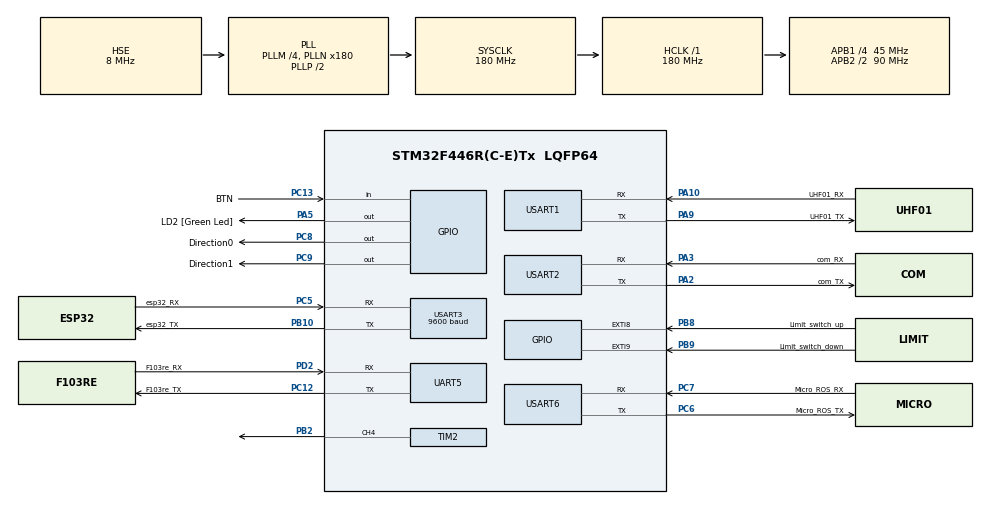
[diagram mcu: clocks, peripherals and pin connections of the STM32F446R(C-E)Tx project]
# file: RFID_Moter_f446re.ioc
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Dma.Request0=USART1_RX
Dma.Request1=USART2_RX
Dma.Request2=USART6_RX
Dma.Request3=USART6_TX
Dma.Request4=UART5_RX
Dma.UART5_RX.4.Direction=DMA_PERIPH_TO_MEMORY
Dma.UART5_RX.4.FIFOMode=DMA_FIFOMODE_DISABLE
Dma.UART5_RX.4.Instance=DMA1_Stream0
Dma.UART5_RX.4.MemDataAlignment=DMA_MDATAALIGN_BYTE
Dma.UART5_RX.4.MemInc=DMA_MINC_ENABLE
Dma.UART5_RX.4.Mode=DMA_CIRCULAR
Dma.UART5_RX.4.PeriphDataAlignment=DMA_PDATAALIGN_BYTE
Dma.UART5_RX.4.PeriphInc=DMA_PINC_DISABLE
Dma.UART5_RX.4.Priority=DMA_PRIORITY_LOW
Dma.USART1_RX.0.Direction=DMA_PERIPH_TO_MEMORY
Dma.USART1_RX.0.FIFOMode=DMA_FIFOMODE_DISABLE
Dma.USART1_RX.0.Instance=DMA2_Stream5
Dma.USART1_RX.0.MemDataAlignment=DMA_MDATAALIGN_BYTE
Dma.USART1_RX.0.MemInc=DMA_MINC_ENABLE
Dma.USART1_RX.0.Mode=DMA_CIRCULAR
Dma.USART1_RX.0.PeriphDataAlignment=DMA_PDATAALIGN_BYTE
Dma.USART1_RX.0.PeriphInc=DMA_PINC_DISABLE
Dma.USART1_RX.0.Priority=DMA_PRIORITY_LOW
Dma.USART2_RX.1.Direction=DMA_PERIPH_TO_MEMORY
Dma.USART2_RX.1.FIFOMode=DMA_FIFOMODE_DISABLE
Dma.USART2_RX.1.Instance=DMA1_Stream5
Dma.USART2_RX.1.MemDataAlignment=DMA_MDATAALIGN_BYTE
Dma.USART2_RX.1.MemInc=DMA_MINC_ENABLE
Dma.USART2_RX.1.Mode=DMA_NORMAL
Dma.USART2_RX.1.PeriphDataAlignment=DMA_PDATAALIGN_BYTE
Dma.USART2_RX.1.PeriphInc=DMA_PINC_DISABLE
Dma.USART2_RX.1.Priority=DMA_PRIORITY_LOW
Dma.USART6_RX.2.Direction=DMA_PERIPH_TO_MEMORY
Dma.USART6_RX.2.FIFOMode=DMA_FIFOMODE_DISABLE
Dma.USART6_RX.2.Instance=DMA2_Stream1
Dma.USART6_RX.2.MemDataAlignment=DMA_MDATAALIGN_BYTE
Dma.USART6_RX.2.MemInc=DMA_MINC_ENABLE
Dma.USART6_RX.2.Mode=DMA_CIRCULAR
Dma.USART6_RX.2.PeriphDataAlignment=DMA_PDATAALIGN_BYTE
Dma.USART6_RX.2.PeriphInc=DMA_PINC_DISABLE
Dma.USART6_RX.2.Priority=DMA_PRIORITY_VERY_HIGH
Dma.USART6_TX.3.Direction=DMA_MEMORY_TO_PERIPH
Dma.USART6_TX.3.FIFOMode=DMA_FIFOMODE_DISABLE
Dma.USART6_TX.3.Instance=DMA2_Stream6
Dma.USART6_TX.3.MemDataAlignment=DMA_MDATAALIGN_BYTE
Dma.USART6_TX.3.MemInc=DMA_MINC_ENABLE
Dma.USART6_TX.3.Mode=DMA_NORMAL
Dma.USART6_TX.3.PeriphDataAlignment=DMA_PDATAALIGN_BYTE
Dma.USART6_TX.3.PeriphInc=DMA_PINC_DISABLE
Dma.USART6_TX.3.Priority=DMA_PRIORITY_LOW
FREERTOS.Tasks01=defaultTask,2,400,StartDefaultTask,Default,NULL,Dynamic,NULL,NULL;rfidExecuteTask,0,128,StartRfidExecuteTask,Default,NULL,Dynamic,NULL,NULL;tagNumTransmitT,0,128,StartTagNumTransmitTask,Default,NULL,Dynamic,NULL,NULL;motorTask,-2,128,controlmotor,Default,NULL,Dynamic,NULL,NULL;transmitTask2,0,128,StarttransmitTask2,Default,NULL,Dynamic,NULL,NULL;RosTask,1,3000,StartRosTask,Default,NULL,Static,RosTaskBuffer,RosTaskControlBlock;transePosition,-3,128,StartTransePosition,Default,NULL,Dynamic,NULL,NULL
FREERTOS.configUSE_NEWLIB_REENTRANT=1
Mcu.Family=STM32F4
Mcu.Name=STM32F446R(C-E)Tx
Mcu.Package=LQFP64
NVIC.DMA1_Stream0_IRQn=true\:5\:0\:false\:false\:true\:true\:false\:true\:true
NVIC.DMA1_Stream5_IRQn=true\:5\:0\:false\:false\:true\:true\:false\:true\:true
NVIC.DMA2_Stream1_IRQn=true\:5\:0\:false\:false\:true\:true\:false\:true\:true
NVIC.DMA2_Stream5_IRQn=true\:5\:0\:false\:false\:true\:false\:false\:true\:true
NVIC.DMA2_Stream6_IRQn=true\:5\:0\:false\:false\:true\:true\:false\:true\:true
NVIC.EXTI9_5_IRQn=true\:5\:0\:false\:false\:true\:true\:true\:true\:true
NVIC.PriorityGroup=NVIC_PRIORITYGROUP_4
NVIC.TIM4_IRQn=true\:15\:0\:false\:false\:true\:false\:false\:true\:true
NVIC.TimeBase=TIM4_IRQn
NVIC.TimeBaseIP=TIM4
NVIC.UART5_IRQn=true\:5\:0\:false\:false\:true\:true\:true\:true\:true
NVIC.USART1_IRQn=true\:5\:0\:false\:false\:true\:true\:true\:true\:true
NVIC.USART3_IRQn=true\:5\:0\:false\:false\:true\:true\:true\:true\:true
NVIC.USART6_IRQn=true\:5\:0\:false\:false\:true\:true\:true\:true\:true
PA10.GPIO_Label=UHF01_RX
PA10.Mode=Asynchronous
PA10.Signal=USART1_RX
PA13.Mode=Trace_Asynchronous_SW
PA13.Signal=SYS_JTMS-SWDIO
PA14.Mode=Trace_Asynchronous_SW
PA14.Signal=SYS_JTCK-SWCLK
PA2.GPIO_Label=com_TX
PA2.Mode=Asynchronous
PA2.Signal=USART2_TX
PA3.GPIO_Label=com_RX
PA3.Mode=Asynchronous
PA3.Signal=USART2_RX
PA5.GPIO_Label=LD2 [Green Led]
PA5.Signal=GPIO_Output
PA9.GPIO_Label=UHF01_TX
PA9.Mode=Asynchronous
PA9.Signal=USART1_TX
PB10.GPIO_Label=esp32_TX
PB10.Mode=Asynchronous
PB10.Signal=USART3_TX
PB2.Signal=S_TIM2_CH4
PB3.Mode=Trace_Asynchronous_SW
PB3.Signal=SYS_JTDO-SWO
PB8.GPIO_Label=Limit_switch_up
PB8.GPIO_ModeDefaultEXTI=GPIO_MODE_IT_FALLING
PB8.GPIO_PuPd=GPIO_PULLDOWN
PB8.Signal=GPXTI8
PB9.GPIO_Label=Limit_switch_down
PB9.GPIO_ModeDefaultEXTI=GPIO_MODE_IT_FALLING
PB9.GPIO_PuPd=GPIO_PULLDOWN
PB9.Signal=GPXTI9
PC12.GPIO_Label=F103re_TX
PC12.Mode=Asynchronous
PC12.Signal=UART5_TX
PC13.GPIO_Label=BTN
PC13.Signal=GPIO_Input
PC14-OSC32_IN.Mode=LSE-External-Oscillator
PC14-OSC32_IN.Signal=RCC_OSC32_IN
PC15-OSC32_OUT.Mode=LSE-External-Oscillator
PC15-OSC32_OUT.Signal=RCC_OSC32_OUT
PC5.GPIO_Label=esp32_RX
PC5.Mode=Asynchronous
PC5.Signal=USART3_RX
PC6.GPIO_Label=Micro_ROS_TX
PC6.Mode=Asynchronous
PC6.Signal=USART6_TX
PC7.GPIO_Label=Micro_ROS_RX
PC7.Mode=Asynchronous
PC7.Signal=USART6_RX
PC8.GPIO_Label=Direction0
PC8.GPIO_PuPd=GPIO_PULLUP
PC8.Signal=GPIO_Output
PC9.GPIO_Label=Direction1
PC9.GPIO_PuPd=GPIO_PULLUP
PC9.Signal=GPIO_Output
PD2.GPIO_Label=F103re_RX
PD2.Mode=Asynchronous
PD2.Signal=UART5_RX
PH0-OSC_IN.Mode=HSE-External-Oscillator
PH0-OSC_IN.Signal=RCC_OSC_IN
PH1-OSC_OUT.Mode=HSE-External-Oscillator
PH1-OSC_OUT.Signal=RCC_OSC_OUT
ProjectManager.HeapSize=0x200
ProjectManager.StackSize=0x400
ProjectManager.TargetToolchain=STM32CubeIDE
RCC.48MHZClocksFreq_Value=84000000
RCC.AHBFreq_Value=180000000
RCC.APB1CLKDivider=RCC_HCLK_DIV4
RCC.APB1Freq_Value=45000000
RCC.APB1TimFreq_Value=90000000
RCC.APB2CLKDivider=RCC_HCLK_DIV2
RCC.APB2Freq_Value=90000000
RCC.APB2TimFreq_Value=180000000
RCC.CortexFreq_Value=180000000
RCC.FLatency-AdvancedSettings=FLASH_LATENCY_5
RCC.HCLKFreq_Value=180000000
RCC.HSE_VALUE=8000000
RCC.HSI_VALUE=16000000
RCC.PLLM=4
RCC.PLLN=180
RCC.PLLSourceVirtual=RCC_PLLSOURCE_HSE
RCC.SYSCLKFreq_VALUE=180000000
RCC.SYSCLKSource=RCC_SYSCLKSOURCE_PLLCLK
RCC.USBFreq_Value=180000000
RCC.VCOOutputFreq_Value=360000000
SH.S_TIM2_CH4.0=TIM2_CH4,PWM Generation4 CH4
TIM2.Channel-PWM\ Generation4\ CH4=TIM_CHANNEL_4
TIM2.Period=1000-1
TIM2.Prescaler=90-1
UART5.VirtualMode=Asynchronous
USART1.VirtualMode=VM_ASYNC
USART2.VirtualMode=VM_ASYNC
USART3.BaudRate=9600
USART3.VirtualMode=VM_ASYNC
USART6.VirtualMode=VM_ASYNC
VP_FREERTOS_VS_CMSIS_V1.Mode=CMSIS_V1
VP_SYS_VS_tim4.Mode=TIM4
board=NUCLEO-F446RE

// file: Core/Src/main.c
/* USER CODE BEGIN Header */
/**
  ******************************************************************************
  * @file           : main.c
  * @brief          : Main program body
  ******************************************************************************
  * @attention
  *
  * Copyright (c) 2024 STMicroelectronics.
  * All rights reserved.
  *
  * This software is licensed under terms that can be found in the LICENSE file
  * in the root directory of this software component.
  * If no LICENSE file comes with this software, it is provided AS-IS.
  *
  ******************************************************************************
  */
/* USER CODE END Header */
#include "main.h"
#include "cmsis_os.h"
#include "dma.h"
#include "tim.h"
#include "usart.h"
#include "gpio.h"

/* USER CODE BEGIN Includes */

#include "uart_receive_dma.h"
#include "scan_motor.h"

/* USER CODE END Includes */

/* USER CODE BEGIN PV */
extern uint8_t BLE_RX_BUF[100];
extern int limit_switch_up;
extern int limit_switch_down;

extern osThreadId motorTaskHandle;
extern osThreadId rfidExecuteTaskHandle;
/* USER CODE END PV */

void SystemClock_Config(void);
void MX_FREERTOS_Init(void);

/* USER CODE BEGIN 0 */

void HAL_GPIO_EXTI_Callback(uint16_t GPIO_Pin){
	static uint32_t before_tick1 = 0;
	static uint32_t before_tick2 = 0;

	if(GPIO_Pin == Limit_switch_up_Pin){
		if(HAL_GetTick() - before_tick1 >= 300){
			HAL_GPIO_WritePin(GPIOA, GPIO_PIN_5, GPIO_PIN_SET); //LED turned on
			before_tick1 = HAL_GetTick();
			TIM2->CCR4 = 0;
			change_motor_direction(2);
			limit_switch_up = 1;
			limit_switch_down = 0;
		}
	}else if(GPIO_Pin == Limit_switch_down_Pin){
		if(HAL_GetTick() - before_tick2 >= 300){
			before_tick2 = HAL_GetTick();
			TIM2->CCR4 = 0;
			change_motor_direction(2);
			limit_switch_down = 1;
			limit_switch_up = 0;
		}
	}
}

/* USER CODE END 0 */

int main(void)
{

  /* MCU Configuration--------------------------------------------------------*/

  /* Reset of all peripherals, Initializes the Flash interface and the Systick. */
  HAL_Init();

  /* Configure the system clock */
  SystemClock_Config();

  /* Initialize all configured peripherals */
  MX_GPIO_Init();
  MX_DMA_Init();
  MX_USART2_UART_Init();
  MX_USART1_UART_Init();
  MX_USART3_UART_Init();
  MX_USART6_UART_Init();
  MX_TIM2_Init();
  MX_UART5_Init();
  /* USER CODE BEGIN 2 */
  uart_init();
//  uart2_init();
  HAL_UART_Receive_IT(&huart5, BLE_RX_BUF, 12);

  HAL_TIM_PWM_Start(&htim2, TIM_CHANNEL_4);
  HAL_GPIO_WritePin(Direction0_GPIO_Port, Direction0_Pin, GPIO_PIN_RESET);
  HAL_GPIO_WritePin(Direction1_GPIO_Port, Direction1_Pin, GPIO_PIN_RESET);
  TIM2->CCR4 = 0;

  /* USER CODE END 2 */

  /* Call init function for freertos objects (in cmsis_os2.c) */
  MX_FREERTOS_Init();

  /* Start scheduler */
  osKernelStart();

  /* We should never get here as control is now taken by the scheduler */

  /* Infinite loop */
  while (1)
  {

  }
}

void SystemClock_Config(void)
{
  RCC_OscInitTypeDef RCC_OscInitStruct = {0};
  RCC_ClkInitTypeDef RCC_ClkInitStruct = {0};

  /** Configure the main internal regulator output voltage
  */
  __HAL_RCC_PWR_CLK_ENABLE();
  __HAL_PWR_VOLTAGESCALING_CONFIG(PWR_REGULATOR_VOLTAGE_SCALE1);

  /** Initializes the RCC Oscillators according to the specified parameters
  * in the RCC_OscInitTypeDef structure.
  */
  RCC_OscInitStruct.OscillatorType = RCC_OSCILLATORTYPE_HSE;
  RCC_OscInitStruct.HSEState = RCC_HSE_ON;
  RCC_OscInitStruct.PLL.PLLState = RCC_PLL_ON;
  RCC_OscInitStruct.PLL.PLLSource = RCC_PLLSOURCE_HSE;
  RCC_OscInitStruct.PLL.PLLM = 4;
  RCC_OscInitStruct.PLL.PLLN = 180;
  RCC_OscInitStruct.PLL.PLLP = RCC_PLLP_DIV2;
  RCC_OscInitStruct.PLL.PLLQ = 2;
  RCC_OscInitStruct.PLL.PLLR = 2;
  if (HAL_RCC_OscConfig(&RCC_OscInitStruct) != HAL_OK)
  {
    Error_Handler();
  }

  /** Activate the Over-Drive mode
  */
  if (HAL_PWREx_EnableOverDrive() != HAL_OK)
  {
    Error_Handler();
  }

  /** Initializes the CPU, AHB and APB buses clocks
  */
  RCC_ClkInitStruct.ClockType = RCC_CLOCKTYPE_HCLK|RCC_CLOCKTYPE_SYSCLK
                              |RCC_CLOCKTYPE_PCLK1|RCC_CLOCKTYPE_PCLK2;
  RCC_ClkInitStruct.SYSCLKSource = RCC_SYSCLKSOURCE_PLLCLK;
  RCC_ClkInitStruct.AHBCLKDivider = RCC_SYSCLK_DIV1;
  RCC_ClkInitStruct.APB1CLKDivider = RCC_HCLK_DIV4;
  RCC_ClkInitStruct.APB2CLKDivider = RCC_HCLK_DIV2;

  if (HAL_RCC_ClockConfig(&RCC_ClkInitStruct, FLASH_LATENCY_5) != HAL_OK)
  {
    Error_Handler();
  }
}

/* USER CODE BEGIN 4 */
//HAL_SPI_RxCpltCallback(SPI_HandleTypeDef *hspi){
//	HAL_UART_Transmit(&huart2, rc522_rx_buf,sizeof(rc522_rx_buf) , 500);
//}

/* USER CODE END 4 */

void HAL_TIM_PeriodElapsedCallback(TIM_HandleTypeDef *htim)
{
  if (htim->Instance == TIM4) {
    HAL_IncTick();
  }
}

void Error_Handler(void)
{
  __disable_irq();
  while (1)
  {
  }
}

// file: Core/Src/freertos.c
/* USER CODE BEGIN Header */
/**
  ******************************************************************************
  * File Name          : freertos.c
  * Description        : Code for freertos applications
  ******************************************************************************
  * @attention
  *
  * Copyright (c) 2024 STMicroelectronics.
  * All rights reserved.
  *
  * This software is licensed under terms that can be found in the LICENSE file
  * in the root directory of this software component.
  * If no LICENSE file comes with this software, it is provided AS-IS.
  *
  ******************************************************************************
  */
/* USER CODE END Header */

#include "FreeRTOS.h"
#include "task.h"
#include "main.h"
#include "cmsis_os.h"

/* USER CODE BEGIN Includes */
#include "uart_receive_dma.h"
#include "usart.h"

#include "scan_motor.h"

#include <rcl/rcl.h>
#include <rcl/error_handling.h>
#include <rclc/rclc.h>
#include <rclc/executor.h>
#include <uxr/client/transport.h>
#include <rmw_microxrcedds_c/config.h>
#include <rmw_microros/rmw_microros.h>

#include <std_msgs/msg/string.h>
#include <sensor_msgs/msg/imu.h>

#include <stdio.h>
#include <string.h>
/* USER CODE END Includes */

/* USER CODE BEGIN PM */
rcl_publisher_t publisher_string_scan;
rcl_publisher_t publisher_string_pos;
std_msgs__msg__String pub_str_msg;
std_msgs__msg__String pub_str_pos;
/* USER CODE END PM */

/* USER CODE BEGIN Variables */
extern UART_HandleTypeDef huart1;
extern UART_HandleTypeDef huart2;
extern UART_HandleTypeDef huart5;
extern UART_HandleTypeDef huart6;
extern queue8_t uart_queue;

extern uint8_t BLE_RX_BUF[100];
extern TIM_HandleTypeDef htim1;
#define transmitSignal 0x0001
#define transmitSignal2 0x0002
#define positionSignal 0x0003

int motor_status = 0;
int pub_status = 0;
int pub_nav = 0;
char xChar[6],yChar[6];
/* USER CODE END Variables */
osThreadId defaultTaskHandle;
osThreadId rfidExecuteTaskHandle;
osThreadId tagNumTransmitTHandle;
osThreadId motorTaskHandle;
osThreadId transmitTask2Handle;
osThreadId RosTaskHandle;
uint32_t RosTaskBuffer[ 3000 ];
osStaticThreadDef_t RosTaskControlBlock;
osThreadId transePositionHandle;

void StartDefaultTask(void const * argument);
void StartRfidExecuteTask(void const * argument);
void StartTagNumTransmitTask(void const * argument);
void controlmotor(void const * argument);
void StarttransmitTask2(void const * argument);
void StartRosTask(void const * argument);
void StartTransePosition(void const * argument);

void MX_FREERTOS_Init(void); /* (MISRA C 2004 rule 8.1) */

/* GetIdleTaskMemory prototype (linked to static allocation support) */
void vApplicationGetIdleTaskMemory( StaticTask_t **ppxIdleTaskTCBBuffer, StackType_t **ppxIdleTaskStackBuffer, uint32_t *pulIdleTaskStackSize );

/* USER CODE BEGIN GET_IDLE_TASK_MEMORY */
static StaticTask_t xIdleTaskTCBBuffer;
static StackType_t xIdleStack[configMINIMAL_STACK_SIZE];

void vApplicationGetIdleTaskMemory( StaticTask_t **ppxIdleTaskTCBBuffer, StackType_t **ppxIdleTaskStackBuffer, uint32_t *pulIdleTaskStackSize )
{
  *ppxIdleTaskTCBBuffer = &xIdleTaskTCBBuffer;
  *ppxIdleTaskStackBuffer = &xIdleStack[0];
  *pulIdleTaskStackSize = configMINIMAL_STACK_SIZE;
  /* place for user code */
}
/* USER CODE END GET_IDLE_TASK_MEMORY */

void MX_FREERTOS_Init(void) {

  /* Create the thread(s) */
  /* definition and creation of defaultTask */
  osThreadDef(defaultTask, StartDefaultTask, osPriorityHigh, 0, 400);
  defaultTaskHandle = osThreadCreate(osThread(defaultTask), NULL);

  /* definition and creation of rfidExecuteTask */
  osThreadDef(rfidExecuteTask, StartRfidExecuteTask, osPriorityNormal, 0, 128);
  rfidExecuteTaskHandle = osThreadCreate(osThread(rfidExecuteTask), NULL);

  /* definition and creation of tagNumTransmitT */
  osThreadDef(tagNumTransmitT, StartTagNumTransmitTask, osPriorityNormal, 0, 128);
  tagNumTransmitTHandle = osThreadCreate(osThread(tagNumTransmitT), NULL);

  /* definition and creation of motorTask */
  osThreadDef(motorTask, controlmotor, osPriorityLow, 0, 128);
  motorTaskHandle = osThreadCreate(osThread(motorTask), NULL);

  /* definition and creation of transmitTask2 */
  osThreadDef(transmitTask2, StarttransmitTask2, osPriorityNormal, 0, 128);
  transmitTask2Handle = osThreadCreate(osThread(transmitTask2), NULL);

  /* definition and creation of RosTask */
  osThreadStaticDef(RosTask, StartRosTask, osPriorityAboveNormal, 0, 3000, RosTaskBuffer, &RosTaskControlBlock);
  RosTaskHandle = osThreadCreate(osThread(RosTask), NULL);

  /* definition and creation of transePosition */
  osThreadDef(transePosition, StartTransePosition, osPriorityIdle, 0, 128);
  transePositionHandle = osThreadCreate(osThread(transePosition), NULL);

}

void StartDefaultTask(void const * argument)
{
  /* USER CODE BEGIN StartDefaultTask */
  /* Infinite loop */
  for(;;)
  {
	read_rfid_number();
	read_location();
	HAL_GPIO_WritePin(GPIOA, GPIO_PIN_5, GPIO_PIN_RESET); //LED turned off
//	read_command();
	if(HAL_GPIO_ReadPin(BTN_GPIO_Port, BTN_Pin) == GPIO_PIN_RESET){
		pub_status = 1;
	}
    osDelay(50);
  }
  /* USER CODE END StartDefaultTask */
}

void StartRfidExecuteTask(void const * argument)
{
  /* USER CODE BEGIN StartRfidExecuteTask */
	  uint8_t read_tag_single_time[] = {0xBB, 0x00, 0x22, 0x00, 0x00, 0x22, 0x7E};
	  vTaskSuspend(rfidExecuteTaskHandle);
	  /* Infinite loop */
	  for(;;)
	  {
		HAL_UART_Transmit(&huart1, read_tag_single_time, sizeof(read_tag_single_time), HAL_MAX_DELAY);

		//vTaskResume(defaultTaskHandle);
	    osDelay(300);
	  }
  /* USER CODE END StartRfidExecuteTask */
}

void StartTagNumTransmitTask(void const * argument)
{
  /* USER CODE BEGIN StartTagNumTransmitTask */
  /* Infinite loop */
  osEvent event;

  for(;;)
  {
//	  HAL_UART_Receive_IT(&huart5, BLE_RX_BUF,12);
	event = osSignalWait(transmitSignal, 100);
	if(event.value.signals == transmitSignal){
		transmitData();
		}
	osDelay(10);
  }

  /* USER CODE END StartTagNumTransmitTask */
}

void controlmotor(void const * argument)
{
  /* USER CODE BEGIN controlmotor */
  /* Infinite loop */
	vTaskSuspend(motorTaskHandle);
  /* Infinite loop */
  for(;;)
  {
	  if(motor_status == 0){
		  scan_motor_up();
	  }else if(motor_status == 1){
		  scan_motor_down();
	  }
	  osDelay(100);
  }
  /* USER CODE END controlmotor */
}

void StarttransmitTask2(void const * argument)
{
  /* USER CODE BEGIN StarttransmitTask2 */
	osEvent event;
  /* Infinite loop */
	  for(;;)
	  {
		  HAL_UART_Receive_IT(&huart5, BLE_RX_BUF,12);
		  event = osSignalWait(transmitSignal2, 100);
		  if(event.value.signals == transmitSignal2){
			  transmitCommand();
		  }
		  osDelay(1);
	  }
  /* USER CODE END StarttransmitTask2 */
}

/* USER CODE BEGIN Header_StartRosTask */
void * microros_allocate(size_t size, void * state);
void microros_deallocate(void * pointer, void * state);
void * microros_reallocate(void * pointer, size_t size, void * state);
void * microros_zero_allocate(size_t number_of_elements, size_t size_of_element, void * state);
bool cubemx_transport_open(struct uxrCustomTransport * transport);
bool cubemx_transport_close(struct uxrCustomTransport * transport);
size_t cubemx_transport_write(struct uxrCustomTransport* transport, const uint8_t * buf, size_t len, uint8_t * err);
size_t cubemx_transport_read(struct uxrCustomTransport* transport, uint8_t* buf, size_t len, int timeout, uint8_t* err);
#define ARRAY_LEN 200
#define RCCHECK(fn) { rcl_ret_t temp_rc = fn; if((temp_rc != RCL_RET_OK)){printf("Failed status on line %d: %d. Aborting.\n",__LINE__,(int)temp_rc); return 1;}}
#define RCSOFTCHECK(fn) { rcl_ret_t temp_rc = fn; if((temp_rc != RCL_RET_OK)){printf("Failed status on line %d: %d. Continuing.\n",__LINE__,(int)temp_rc);}}

void subscription_str_callback(const void * msgin)
{
  std_msgs__msg__String * msg = (std_msgs__msg__String *)msgin;
  pub_str_msg = *msg;
  char str[100];
  strcpy(str, msg->data.data);
  if(!strcmp(str,"motor_scan")){
	  vTaskResume(motorTaskHandle);
	  vTaskResume(rfidExecuteTaskHandle);
  }

}

void debug_led()
{
  HAL_GPIO_WritePin(GPIOA, GPIO_PIN_5, GPIO_PIN_SET); //LED turned on
  HAL_Delay(200); //Wait for 200[ms]
  HAL_GPIO_WritePin(GPIOA, GPIO_PIN_5, GPIO_PIN_RESET); //LED turned off
  HAL_Delay(200);
}

/**
* @brief Function implementing the RosTask thread.
* @param argument: Not used
* @retval None
*/
/* USER CODE END Header_StartRosTask */
void StartRosTask(void const * argument)
{
  /* USER CODE BEGIN StartRosTask */
	  // micro-ROS configuration

	  char test_array[ARRAY_LEN];
	  memset(test_array,'z',ARRAY_LEN);

	  rmw_uros_set_custom_transport(
	    true,
	    (void *) &huart6,
	    cubemx_transport_open,
	    cubemx_transport_close,
	    cubemx_transport_write,
	    cubemx_transport_read);

	  rcl_allocator_t freeRTOS_allocator = rcutils_get_zero_initialized_allocator();
	  freeRTOS_allocator.allocate = microros_allocate;
	  freeRTOS_allocator.deallocate = microros_deallocate;
	  freeRTOS_allocator.reallocate = microros_reallocate;
	  freeRTOS_allocator.zero_allocate =  microros_zero_allocate;

	  if (!rcutils_set_default_allocator(&freeRTOS_allocator)) {
	    printf("Error on default allocators (line %d)\n", __LINE__);
	  }

	  rcl_subscription_t subscriber_oper;
	  std_msgs__msg__String sub_str_msg;
	  rclc_support_t support;
	  rcl_allocator_t allocator;
	  rcl_node_t node;

	  allocator = rcl_get_default_allocator();

	  // create init_options
	  RCCHECK(rclc_support_init(&support, 0, NULL, &allocator));

	  // create node
	  RCCHECK(rclc_node_init_default(&node, "f446re_node", "", &support));

	  // create publisher
	  RCCHECK(rclc_publisher_init_best_effort(
	    &publisher_string_scan,
	    &node,
	    ROSIDL_GET_MSG_TYPE_SUPPORT(std_msgs, msg, String),
	    "/f446re_scan_status"));

	  RCCHECK(rclc_publisher_init_best_effort(
	    &publisher_string_pos,
	    &node,
	    ROSIDL_GET_MSG_TYPE_SUPPORT(std_msgs, msg, String),
	    "/f446re_nav_pos"));

	  // create subscriber
	  RCCHECK(rclc_subscription_init_default(
	    &subscriber_oper,
	    &node,
	    ROSIDL_GET_MSG_TYPE_SUPPORT(std_msgs, msg, String),
	    "/f446re_scan_oper"));

	  // create executor
	  rclc_executor_t executor = rclc_executor_get_zero_initialized_executor();
	  RCCHECK(rclc_executor_init(&executor, &support.context, 2, &allocator));
	  RCCHECK(rclc_executor_add_subscription(&executor, &subscriber_oper, &sub_str_msg, &subscription_str_callback, ON_NEW_DATA));

	  // initialize message memory
	  pub_str_msg.data.data = (char * ) malloc(ARRAY_LEN * sizeof(char));
	  pub_str_msg.data.size = 0;
	  pub_str_msg.data.capacity = ARRAY_LEN;

	  pub_str_pos.data.data = (char * ) malloc(ARRAY_LEN * sizeof(char));
	  pub_str_pos.data.size = 0;
	  pub_str_pos.data.capacity = ARRAY_LEN;

	  sub_str_msg.data.data = (char * ) malloc(ARRAY_LEN * sizeof(char));
	  sub_str_msg.data.size = 0;
	  sub_str_msg.data.capacity = ARRAY_LEN;

	  // execute subscriber
	  //rclc_executor_spin(&executor);

	  /* Infinite loop */

  for(;;)
  {

	  if(pub_nav){
		  Publisher_pos();
		  pub_nav = 0;
	  }
	  if(pub_status){
		  Publisher_state();
		  pub_status = 0;
	  }
	  rclc_executor_spin_some(&executor, RCL_MS_TO_NS(100));
	  osDelay(100);

  }

  /* USER CODE END StartRosTask */
}

void StartTransePosition(void const * argument)
{
  /* USER CODE BEGIN StartTransePosition */
  /* Infinite loop */
	osEvent event;
  for(;;)
  {
	  event = osSignalWait(positionSignal, 100);
	  	if(event.value.signals == positionSignal){
			HAL_UART_Transmit(&huart2, BLE_RX_BUF, 12, 1000);
			if(BLE_RX_BUF[0] == 'z'){
				//정비시작
				int a;
			}
			else{
				//book location move
				for(int i=0;i<6;i++){
					xChar[i] = BLE_RX_BUF[i];
					yChar[i] = BLE_RX_BUF[i+6];
				}
				pub_nav = 1;
			}

			HAL_UART_Receive_IT(&huart5, BLE_RX_BUF,12);

			memset(BLE_RX_BUF,0,sizeof(BLE_RX_BUF));
	  	}

    osDelay(1);
  }
  /* USER CODE END StartTransePosition */
}
